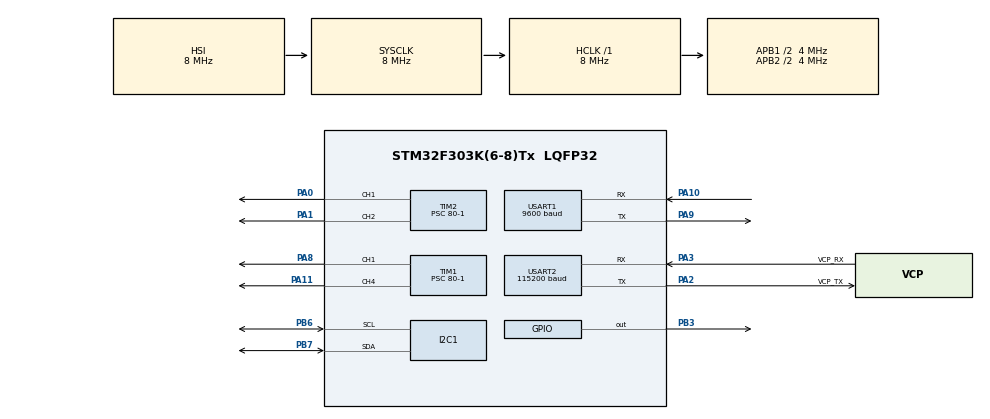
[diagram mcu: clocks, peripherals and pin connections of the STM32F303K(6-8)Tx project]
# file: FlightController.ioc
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I2C1.Timing=0x00201D2B
Mcu.Family=STM32F3
Mcu.Name=STM32F303K(6-8)Tx
Mcu.Package=LQFP32
NVIC.PriorityGroup=NVIC_PRIORITYGROUP_4
NVIC.TIM3_IRQn=true\:0\:0\:false\:false\:true\:true\:true\:true
NVIC.USART1_IRQn=true\:0\:0\:false\:false\:true\:true\:true\:true
NVIC.USART2_IRQn=true\:0\:0\:false\:false\:true\:true\:true\:true
PA0.Signal=S_TIM2_CH1_ETR
PA1.Signal=S_TIM2_CH2
PA10.Mode=Asynchronous
PA10.Signal=USART1_RX
PA11.Signal=S_TIM1_CH4
PA13.GPIO_Label=SWDIO
PA13.Mode=Serial_Wire
PA13.Signal=SYS_JTMS-SWDIO
PA14.GPIO_Label=SWCLK
PA14.Mode=Serial_Wire
PA14.Signal=SYS_JTCK-SWCLK
PA2.GPIO_Label=VCP_TX
PA2.Mode=Asynchronous
PA2.Signal=USART2_TX
PA3.GPIO_Label=VCP_RX
PA3.Mode=Asynchronous
PA3.Signal=USART2_RX
PA8.Signal=S_TIM1_CH1
PA9.Mode=Asynchronous
PA9.Signal=USART1_TX
PB3.Signal=GPIO_Output
PB6.Mode=I2C
PB6.Signal=I2C1_SCL
PB7.Mode=I2C
PB7.Signal=I2C1_SDA
PF0\ /\ OSC_IN.GPIO_Label=MCO
PF0\ /\ OSC_IN.Mode=HSE-External-Oscillator
PF0\ /\ OSC_IN.Signal=RCC_OSC_IN
PF1\ /\ OSC_OUT.Mode=HSE-External-Oscillator
PF1\ /\ OSC_OUT.Signal=RCC_OSC_OUT
ProjectManager.HeapSize=0x200
ProjectManager.StackSize=0x400
ProjectManager.TargetToolchain=STM32CubeIDE
RCC.AHBFreq_Value=8000000
RCC.APB1CLKDivider=RCC_HCLK_DIV2
RCC.APB1Freq_Value=4000000
RCC.APB1TimFreq_Value=8000000
RCC.APB2CLKDivider=RCC_HCLK_DIV2
RCC.APB2Freq_Value=4000000
RCC.APB2TimFreq_Value=8000000
RCC.CortexFreq_Value=8000000
RCC.HCLKFreq_Value=8000000
RCC.HSE_VALUE=8000000
RCC.HSI_VALUE=8000000
RCC.PLLMUL=RCC_PLL_MUL9
RCC.PLLSourceVirtual=RCC_PLLSOURCE_HSE
RCC.SYSCLKFreq_VALUE=8000000
SH.S_TIM1_CH1.0=TIM1_CH1,PWM Generation1 CH1
SH.S_TIM1_CH4.0=TIM1_CH4,PWM Generation4 CH4
SH.S_TIM2_CH1_ETR.0=TIM2_CH1,PWM Generation1 CH1
SH.S_TIM2_CH2.0=TIM2_CH2,PWM Generation2 CH2
TIM1.Channel-PWM\ Generation1\ CH1=TIM_CHANNEL_1
TIM1.Channel-PWM\ Generation4\ CH4=TIM_CHANNEL_4
TIM1.Period=2000-1
TIM1.Prescaler=80-1
TIM1.Pulse-PWM\ Generation1\ CH1=0
TIM2.Channel-PWM\ Generation1\ CH1=TIM_CHANNEL_1
TIM2.Channel-PWM\ Generation2\ CH2=TIM_CHANNEL_2
TIM2.Period=2000-1
TIM2.Prescaler=80-1
TIM3.Period=1000-1
TIM3.Prescaler=8-1
USART1.BaudRate=9600
USART1.VirtualMode-Asynchronous=VM_ASYNC
USART2.BaudRate=115200
USART2.VirtualMode-Asynchronous=VM_ASYNC
VP_TIM1_VS_ClockSourceINT.Mode=Internal
VP_TIM2_VS_ClockSourceINT.Mode=Internal
VP_TIM3_VS_ClockSourceINT.Mode=Internal
board=NUCLEO-F303K8

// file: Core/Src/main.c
/* USER CODE BEGIN Header */
/**
  ******************************************************************************
  * @file           : main.c
  * @brief          : Main program body
  ******************************************************************************
  * @attention
  *
  * Copyright (c) 2024 STMicroelectronics.
  * All rights reserved.
  *
  * This software is licensed under terms that can be found in the LICENSE file
  * in the root directory of this software component.
  * If no LICENSE file comes with this software, it is provided AS-IS.
  *
  ******************************************************************************
  */
/* USER CODE END Header */
#include "main.h"

/* USER CODE BEGIN Includes */
#include <string.h>
#include "Sensor.h"
#include "Comunication.h"
#include "Control.h"
/* USER CODE END Includes */

/* USER CODE BEGIN PTD */
#define Calibrate 1
/* USER CODE END PTD */

I2C_HandleTypeDef hi2c1;

TIM_HandleTypeDef htim1;
TIM_HandleTypeDef htim2;
TIM_HandleTypeDef htim3;

UART_HandleTypeDef huart1;
UART_HandleTypeDef huart2;

/* USER CODE BEGIN PV */
#define ADXL345_ADDR  0x53
#define HMC5883L_ADDR 0x1E
#define ITG3205_ADDR  0x68
#define RX_BUFFER_SIZE 128  // Tamaño del buffer circular
uint8_t rx_buffer[RX_BUFFER_SIZE];
uint8_t temp_byte;          // Almacén temporal para el byte recibido
volatile uint16_t write_index = 0;  // �?ndice de escritura en el buffer
volatile uint16_t read_index = 0;
uint8_t control_update_flag = 0;
uint8_t send_data_flag = 0;
uint16_t sendDelay = 0;

/* USER CODE END PV */

void SystemClock_Config(void);
static void MX_GPIO_Init(void);
static void MX_USART2_UART_Init(void);
static void MX_USART1_UART_Init(void);
static void MX_I2C1_Init(void);
static void MX_TIM1_Init(void);
static void MX_TIM2_Init(void);
static void MX_TIM3_Init(void);
/* USER CODE BEGIN PFP */

#define OPT_MEM 1

/* USER CODE END PFP */

int main(void)
{

  /* MCU Configuration--------------------------------------------------------*/

  /* Reset of all peripherals, Initializes the Flash interface and the Systick. */
  HAL_Init();

  /* Configure the system clock */
  SystemClock_Config();

  /* Initialize all configured peripherals */
  MX_GPIO_Init();
  MX_USART2_UART_Init();
  MX_USART1_UART_Init();
  MX_I2C1_Init();
  MX_TIM1_Init();
  MX_TIM2_Init();
  MX_TIM3_Init();
  /* USER CODE BEGIN 2 */
  // Inicializar el sensor GY-85
  GY85_Init();

  Control_Init();

  HAL_UART_Receive_IT(&huart1, rx_buffer, sizeof(rx_buffer));

  HAL_TIM_PWM_Start(&htim1, TIM_CHANNEL_1);
  HAL_TIM_PWM_Start(&htim1, TIM_CHANNEL_4);
  HAL_TIM_PWM_Start(&htim2, TIM_CHANNEL_1);
  HAL_TIM_PWM_Start(&htim2, TIM_CHANNEL_2);

#if Calibrate
  Control_ArmMotors();

#endif
  printData("Iniciando pulso de estabilizador\n");
  HAL_TIM_Base_Start_IT(&htim3);

  /* USER CODE END 2 */

  /* Infinite loop */
  /* USER CODE BEGIN WHILE */
  while (1)
  {
	if (control_update_flag) {
		control_update_flag = 0;
		Control_Update();
//		struct girodata_t gyro;
//		Sensor_Read(&gyro);
//		printKalman(&gyro);
	}

	if (send_data_flag) {
		send_data_flag = 0;
		//sendAngles();
		sendSensorData();
	}

  }

    /* USER CODE END WHILE */

}

void SystemClock_Config(void)
{
  RCC_OscInitTypeDef RCC_OscInitStruct = {0};
  RCC_ClkInitTypeDef RCC_ClkInitStruct = {0};
  RCC_PeriphCLKInitTypeDef PeriphClkInit = {0};

  /** Initializes the RCC Oscillators according to the specified parameters
  * in the RCC_OscInitTypeDef structure.
  */
  RCC_OscInitStruct.OscillatorType = RCC_OSCILLATORTYPE_HSI;
  RCC_OscInitStruct.HSIState = RCC_HSI_ON;
  RCC_OscInitStruct.HSICalibrationValue = RCC_HSICALIBRATION_DEFAULT;
  RCC_OscInitStruct.PLL.PLLState = RCC_PLL_NONE;
  if (HAL_RCC_OscConfig(&RCC_OscInitStruct) != HAL_OK)
  {
    Error_Handler();
  }

  /** Initializes the CPU, AHB and APB buses clocks
  */
  RCC_ClkInitStruct.ClockType = RCC_CLOCKTYPE_HCLK|RCC_CLOCKTYPE_SYSCLK
                              |RCC_CLOCKTYPE_PCLK1|RCC_CLOCKTYPE_PCLK2;
  RCC_ClkInitStruct.SYSCLKSource = RCC_SYSCLKSOURCE_HSI;
  RCC_ClkInitStruct.AHBCLKDivider = RCC_SYSCLK_DIV1;
  RCC_ClkInitStruct.APB1CLKDivider = RCC_HCLK_DIV2;
  RCC_ClkInitStruct.APB2CLKDivider = RCC_HCLK_DIV2;

  if (HAL_RCC_ClockConfig(&RCC_ClkInitStruct, FLASH_LATENCY_0) != HAL_OK)
  {
    Error_Handler();
  }
  PeriphClkInit.PeriphClockSelection = RCC_PERIPHCLK_USART1|RCC_PERIPHCLK_I2C1
                              |RCC_PERIPHCLK_TIM1;
  PeriphClkInit.Usart1ClockSelection = RCC_USART1CLKSOURCE_PCLK1;
  PeriphClkInit.I2c1ClockSelection = RCC_I2C1CLKSOURCE_HSI;
  PeriphClkInit.Tim1ClockSelection = RCC_TIM1CLK_HCLK;
  if (HAL_RCCEx_PeriphCLKConfig(&PeriphClkInit) != HAL_OK)
  {
    Error_Handler();
  }
}

static void MX_I2C1_Init(void)
{

  hi2c1.Instance = I2C1;
  hi2c1.Init.Timing = 0x00201D2B;
  hi2c1.Init.OwnAddress1 = 0;
  hi2c1.Init.AddressingMode = I2C_ADDRESSINGMODE_7BIT;
  hi2c1.Init.DualAddressMode = I2C_DUALADDRESS_DISABLE;
  hi2c1.Init.OwnAddress2 = 0;
  hi2c1.Init.OwnAddress2Masks = I2C_OA2_NOMASK;
  hi2c1.Init.GeneralCallMode = I2C_GENERALCALL_DISABLE;
  hi2c1.Init.NoStretchMode = I2C_NOSTRETCH_DISABLE;
  if (HAL_I2C_Init(&hi2c1) != HAL_OK)
  {
    Error_Handler();
  }

  /** Configure Analogue filter
  */
  if (HAL_I2CEx_ConfigAnalogFilter(&hi2c1, I2C_ANALOGFILTER_ENABLE) != HAL_OK)
  {
    Error_Handler();
  }

  /** Configure Digital filter
  */
  if (HAL_I2CEx_ConfigDigitalFilter(&hi2c1, 0) != HAL_OK)
  {
    Error_Handler();
  }

}

static void MX_TIM1_Init(void)
{

  TIM_ClockConfigTypeDef sClockSourceConfig = {0};
  TIM_MasterConfigTypeDef sMasterConfig = {0};
  TIM_OC_InitTypeDef sConfigOC = {0};
  TIM_BreakDeadTimeConfigTypeDef sBreakDeadTimeConfig = {0};

  htim1.Instance = TIM1;
  htim1.Init.Prescaler = 80-1;
  htim1.Init.CounterMode = TIM_COUNTERMODE_UP;
  htim1.Init.Period = 2000-1;
  htim1.Init.ClockDivision = TIM_CLOCKDIVISION_DIV1;
  htim1.Init.RepetitionCounter = 0;
  htim1.Init.AutoReloadPreload = TIM_AUTORELOAD_PRELOAD_DISABLE;
  if (HAL_TIM_Base_Init(&htim1) != HAL_OK)
  {
    Error_Handler();
  }
  sClockSourceConfig.ClockSource = TIM_CLOCKSOURCE_INTERNAL;
  if (HAL_TIM_ConfigClockSource(&htim1, &sClockSourceConfig) != HAL_OK)
  {
    Error_Handler();
  }
  if (HAL_TIM_PWM_Init(&htim1) != HAL_OK)
  {
    Error_Handler();
  }
  sMasterConfig.MasterOutputTrigger = TIM_TRGO_RESET;
  sMasterConfig.MasterOutputTrigger2 = TIM_TRGO2_RESET;
  sMasterConfig.MasterSlaveMode = TIM_MASTERSLAVEMODE_DISABLE;
  if (HAL_TIMEx_MasterConfigSynchronization(&htim1, &sMasterConfig) != HAL_OK)
  {
    Error_Handler();
  }
  sConfigOC.OCMode = TIM_OCMODE_PWM1;
  sConfigOC.Pulse = 0;
  sConfigOC.OCPolarity = TIM_OCPOLARITY_HIGH;
  sConfigOC.OCNPolarity = TIM_OCNPOLARITY_HIGH;
  sConfigOC.OCFastMode = TIM_OCFAST_DISABLE;
  sConfigOC.OCIdleState = TIM_OCIDLESTATE_RESET;
  sConfigOC.OCNIdleState = TIM_OCNIDLESTATE_RESET;
  if (HAL_TIM_PWM_ConfigChannel(&htim1, &sConfigOC, TIM_CHANNEL_1) != HAL_OK)
  {
    Error_Handler();
  }
  if (HAL_TIM_PWM_ConfigChannel(&htim1, &sConfigOC, TIM_CHANNEL_4) != HAL_OK)
  {
    Error_Handler();
  }
  sBreakDeadTimeConfig.OffStateRunMode = TIM_OSSR_DISABLE;
  sBreakDeadTimeConfig.OffStateIDLEMode = TIM_OSSI_DISABLE;
  sBreakDeadTimeConfig.LockLevel = TIM_LOCKLEVEL_OFF;
  sBreakDeadTimeConfig.DeadTime = 0;
  sBreakDeadTimeConfig.BreakState = TIM_BREAK_DISABLE;
  sBreakDeadTimeConfig.BreakPolarity = TIM_BREAKPOLARITY_HIGH;
  sBreakDeadTimeConfig.BreakFilter = 0;
  sBreakDeadTimeConfig.Break2State = TIM_BREAK2_DISABLE;
  sBreakDeadTimeConfig.Break2Polarity = TIM_BREAK2POLARITY_HIGH;
  sBreakDeadTimeConfig.Break2Filter = 0;
  sBreakDeadTimeConfig.AutomaticOutput = TIM_AUTOMATICOUTPUT_DISABLE;
  if (HAL_TIMEx_ConfigBreakDeadTime(&htim1, &sBreakDeadTimeConfig) != HAL_OK)
  {
    Error_Handler();
  }
  HAL_TIM_MspPostInit(&htim1);

}

static void MX_TIM2_Init(void)
{

  TIM_ClockConfigTypeDef sClockSourceConfig = {0};
  TIM_MasterConfigTypeDef sMasterConfig = {0};
  TIM_OC_InitTypeDef sConfigOC = {0};

  htim2.Instance = TIM2;
  htim2.Init.Prescaler = 80-1;
  htim2.Init.CounterMode = TIM_COUNTERMODE_UP;
  htim2.Init.Period = 2000-1;
  htim2.Init.ClockDivision = TIM_CLOCKDIVISION_DIV1;
  htim2.Init.AutoReloadPreload = TIM_AUTORELOAD_PRELOAD_DISABLE;
  if (HAL_TIM_Base_Init(&htim2) != HAL_OK)
  {
    Error_Handler();
  }
  sClockSourceConfig.ClockSource = TIM_CLOCKSOURCE_INTERNAL;
  if (HAL_TIM_ConfigClockSource(&htim2, &sClockSourceConfig) != HAL_OK)
  {
    Error_Handler();
  }
  if (HAL_TIM_PWM_Init(&htim2) != HAL_OK)
  {
    Error_Handler();
  }
  sMasterConfig.MasterOutputTrigger = TIM_TRGO_RESET;
  sMasterConfig.MasterSlaveMode = TIM_MASTERSLAVEMODE_DISABLE;
  if (HAL_TIMEx_MasterConfigSynchronization(&htim2, &sMasterConfig) != HAL_OK)
  {
    Error_Handler();
  }
  sConfigOC.OCMode = TIM_OCMODE_PWM1;
  sConfigOC.Pulse = 0;
  sConfigOC.OCPolarity = TIM_OCPOLARITY_HIGH;
  sConfigOC.OCFastMode = TIM_OCFAST_DISABLE;
  if (HAL_TIM_PWM_ConfigChannel(&htim2, &sConfigOC, TIM_CHANNEL_1) != HAL_OK)
  {
    Error_Handler();
  }
  if (HAL_TIM_PWM_ConfigChannel(&htim2, &sConfigOC, TIM_CHANNEL_2) != HAL_OK)
  {
    Error_Handler();
  }
  HAL_TIM_MspPostInit(&htim2);

}

static void MX_TIM3_Init(void)
{

  TIM_ClockConfigTypeDef sClockSourceConfig = {0};
  TIM_MasterConfigTypeDef sMasterConfig = {0};

  htim3.Instance = TIM3;
  htim3.Init.Prescaler = 8-1;
  htim3.Init.CounterMode = TIM_COUNTERMODE_UP;
  htim3.Init.Period = 1000-1;
  htim3.Init.ClockDivision = TIM_CLOCKDIVISION_DIV1;
  htim3.Init.AutoReloadPreload = TIM_AUTORELOAD_PRELOAD_DISABLE;
  if (HAL_TIM_Base_Init(&htim3) != HAL_OK)
  {
    Error_Handler();
  }
  sClockSourceConfig.ClockSource = TIM_CLOCKSOURCE_INTERNAL;
  if (HAL_TIM_ConfigClockSource(&htim3, &sClockSourceConfig) != HAL_OK)
  {
    Error_Handler();
  }
  sMasterConfig.MasterOutputTrigger = TIM_TRGO_RESET;
  sMasterConfig.MasterSlaveMode = TIM_MASTERSLAVEMODE_DISABLE;
  if (HAL_TIMEx_MasterConfigSynchronization(&htim3, &sMasterConfig) != HAL_OK)
  {
    Error_Handler();
  }

}

static void MX_USART1_UART_Init(void)
{

  huart1.Instance = USART1;
  huart1.Init.BaudRate = 9600;
  huart1.Init.WordLength = UART_WORDLENGTH_8B;
  huart1.Init.StopBits = UART_STOPBITS_1;
  huart1.Init.Parity = UART_PARITY_NONE;
  huart1.Init.Mode = UART_MODE_TX_RX;
  huart1.Init.HwFlowCtl = UART_HWCONTROL_NONE;
  huart1.Init.OverSampling = UART_OVERSAMPLING_16;
  huart1.Init.OneBitSampling = UART_ONE_BIT_SAMPLE_DISABLE;
  huart1.AdvancedInit.AdvFeatureInit = UART_ADVFEATURE_NO_INIT;
  if (HAL_UART_Init(&huart1) != HAL_OK)
  {
    Error_Handler();
  }

}

static void MX_USART2_UART_Init(void)
{

  huart2.Instance = USART2;
  huart2.Init.BaudRate = 115200;
  huart2.Init.WordLength = UART_WORDLENGTH_8B;
  huart2.Init.StopBits = UART_STOPBITS_1;
  huart2.Init.Parity = UART_PARITY_NONE;
  huart2.Init.Mode = UART_MODE_TX_RX;
  huart2.Init.HwFlowCtl = UART_HWCONTROL_NONE;
  huart2.Init.OverSampling = UART_OVERSAMPLING_16;
  huart2.Init.OneBitSampling = UART_ONE_BIT_SAMPLE_DISABLE;
  huart2.AdvancedInit.AdvFeatureInit = UART_ADVFEATURE_NO_INIT;
  if (HAL_UART_Init(&huart2) != HAL_OK)
  {
    Error_Handler();
  }

}

static void MX_GPIO_Init(void)
{
  GPIO_InitTypeDef GPIO_InitStruct = {0};

  /* GPIO Ports Clock Enable */
  __HAL_RCC_GPIOF_CLK_ENABLE();
  __HAL_RCC_GPIOA_CLK_ENABLE();
  __HAL_RCC_GPIOB_CLK_ENABLE();

  /*Configure GPIO pin Output Level */
  HAL_GPIO_WritePin(GPIOB, GPIO_PIN_3, GPIO_PIN_RESET);

  /*Configure GPIO pin : PB3 */
  GPIO_InitStruct.Pin = GPIO_PIN_3;
  GPIO_InitStruct.Mode = GPIO_MODE_OUTPUT_PP;
  GPIO_InitStruct.Pull = GPIO_NOPULL;
  GPIO_InitStruct.Speed = GPIO_SPEED_FREQ_LOW;
  HAL_GPIO_Init(GPIOB, &GPIO_InitStruct);

}

/* USER CODE BEGIN 4 */

void printData(char* data) {
  HAL_UART_Transmit(&huart2, (uint8_t*)data, strlen(data), 100);
}

void sendData(char* data) {
  HAL_UART_Transmit(&huart1, (uint8_t*)data, strlen(data), 100);
}

int _write(int file, char *data, int len) {
    HAL_UART_Transmit(&huart2, (uint8_t*)data, len, HAL_MAX_DELAY);
    return len;
}

// Función que se llama cuando un byte es recibido
void HAL_UART_RxCpltCallback(UART_HandleTypeDef *huart) {
	//Control_Update();// por probar
    if (huart->Instance == USART1) {
        // Almacenar el byte recibido en el buffer circular
        rx_buffer[write_index++] = temp_byte;

        // Asegurar que el índice no se desborde
        if (write_index >= RX_BUFFER_SIZE) {
            write_index = 0;
        }

        // Si el byte recibido es un delimitador (por ejemplo, '\n'), procesamos el mensaje
        if (temp_byte == '\n') {
            // Procesar el buffer hasta la posición de lectura
            uint16_t length = (write_index > read_index) ? (write_index - read_index) : (RX_BUFFER_SIZE - read_index + write_index);
            receiveControlCommand(&rx_buffer[read_index], length);

            // Avanzar el índice de lectura
            read_index = write_index;
        }

        // Continuar recibiendo el siguiente byte
        HAL_UART_Receive_IT(&huart1, &temp_byte, 1);
    }
}

/* USER CODE END 4 */

void Error_Handler(void)
{
  __disable_irq();
  while (1)
  {
  }
}
